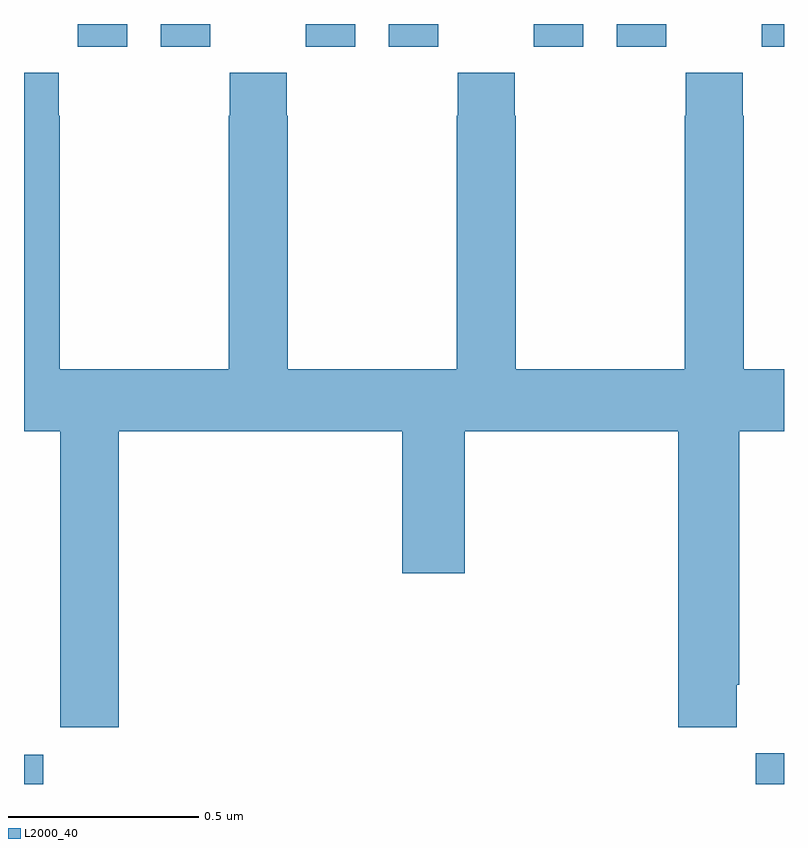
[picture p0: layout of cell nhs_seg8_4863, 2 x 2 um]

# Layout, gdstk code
import gdstk
lib = gdstk.Library(unit=1e-6, precision=1e-09)
def R(c, l, rs):  # rectangles x0, y0, x1, y1
    for r in rs: c.add(gdstk.rectangle(r[:2], r[2:], *l))
def P(c, l, *ps):  # polygons
    for p in ps: c.add(gdstk.Polygon(p, *l))
L2000_40 = (2000, 40)

nhs_seg8_4863 = lib.new_cell('nhs_seg8_4863')
R(nhs_seg8_4863, L2000_40, [(176,1120.9,176.05,1120.977), (177.926,1120.9,178,1120.981), (176.142,1122.84,176.272,1122.9), (176.36,1122.84,176.49,1122.9), (176.742,1122.84,176.872,1122.9), (176.96,1122.84,177.09,1122.9), (177.342,1122.84,177.472,1122.9), (177.56,1122.84,177.69,1122.9), (177.942,1122.84,178,1122.9)])
P(nhs_seg8_4863, L2000_40, [(176.249,1121.828),(176.996,1121.828),(176.996,1121.454),(177.16,1121.454),(177.16,1121.828),(177.722,1121.828),(177.722,1121.049),(177.875,1121.049),(177.875,1121.161),(177.882,1121.161),(177.882,1121.828),(178,1121.828),(178,1121.992),(177.894,1121.992),(177.894,1122.659),(177.891,1122.659),(177.891,1122.772),(177.741,1122.772),(177.741,1122.659),(177.739,1122.659),(177.739,1121.992),(177.294,1121.992),(177.294,1122.659),(177.291,1122.659),(177.291,1122.772),(177.141,1122.772),(177.141,1122.659),(177.139,1122.659),(177.139,1121.992),(176.694,1121.992),(176.694,1122.659),(176.691,1122.659),(176.691,1122.772),(176.541,1122.772),(176.541,1122.659),(176.539,1122.659),(176.539,1121.992),(176.094,1121.992),(176.094,1122.659),(176.091,1122.659),(176.091,1122.772),(176,1122.772),(176,1121.828),(176.096,1121.828),(176.096,1121.049),(176.249,1121.049)])

lib.write_gds('nhs_seg8_4863.gds')
